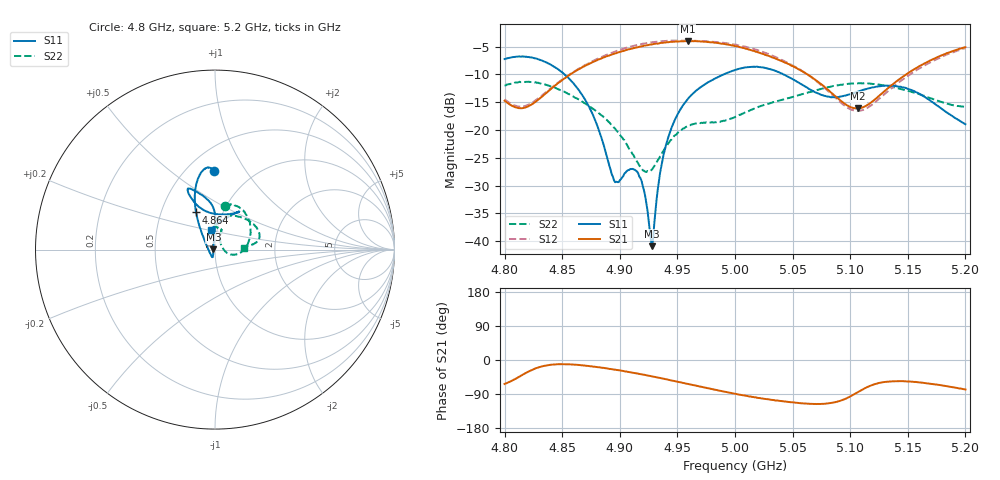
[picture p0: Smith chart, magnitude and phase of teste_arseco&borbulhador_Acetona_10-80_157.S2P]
! Network Analyzer HP8722D
! Hewlett-Packard
! Data name: Linha & Wilkinson
! Saver's name: Rodrigo Anjos
! Comments: Teste da utilização de aquisição
! continua pelo VNA HP8722D
! Time and date: 25/4/2025 16:34
!  Frequency  S11  S21  S12  S22
# HZ  S  MA R 50
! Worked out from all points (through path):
!   401 points, 4.8 GHz to 5.2 GHz, reference 50 ohm
!   highest |S21| = -3.98 dB at 4.959 GHz (marker M1); lowest = -16.1 dB at 5.107 GHz (marker M2)
!   lowest |S11| = -40.9 dB at 4.928 GHz (marker M3), VSWR 1.02, Z = 49.1 + j0.0998 ohm
!   |S11| at or under -10 dB: 4.852 GHz to 4.99 GHz (137.9 MHz wide, 2.8 % of centre); 5.042 GHz to end of sweep
!   |S22| runs from -27.5 to -11.3 dB; largest |S21 - S12| = 1.2
!   S11 on the Smith chart (normalised r, x): 4.8 GHz: 0.68, +0.73; 4.864 GHz: 0.75, +0.33; 5.2 GHz: 0.93, +0.21
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4.8e9  0.4354 90.7  0.1835 -63.3  0.1889 70.3  0.2508 76.6
4.82e9  0.4536 97.0  0.1624 -31.6  0.168 99.2  0.2712 61.3
4.845e9  0.3602 107.5  0.2568 -11.3  0.2607 119.4  0.2363 33.8
4.864e9  0.2323 117.0  0.3515 -13.0  0.3544 120.9  0.1888 11.7
4.867e9  0.2091 118.8  0.3647 -14.0  0.3694 120.5  0.1814 8.3
4.88e9  0.1127 129.3  0.4236 -18.5  0.4352 118.1  0.1473 -5.6
4.895e9  0.03515 -175.0  0.4861 -25.2  0.5031 113.5  0.1049 -15.9
4.91e9  0.04461 -109.7  0.5381 -32.8  0.5654 106.9  0.06369 -13.1
4.917e9  0.03808 -106.9  0.5621 -36.9  0.5898 103.3  0.04778 0.0
4.921e9  0.02858 -112.4  0.5748 -38.9  0.6002 101.1  0.04305 13.5
4.926e9  0.01251 -140.4  0.5867 -42.0  0.6131 97.9  0.04242 35.1
4.928e9  0.009027 173.5  0.5901 -43.2  0.6172 96.7  0.04429 42.1
4.934e9  0.03498 101.9  0.6014 -47.0  0.6285 93.0  0.05556 58.5
4.944e9  0.09881 91.4  0.6212 -53.4  0.6352 86.6  0.08078 69.3
4.959e9  0.1906 89.8  0.6321 -63.1  0.6381 77.1  0.1084 70.9
5e9  0.3472 109.1  0.5689 -89.3  0.5894 50.5  0.1312 88.1
5.03e9  0.3547 115.1  0.4621 -104.5  0.4791 33.6  0.1734 85.1
5.067e9  0.2268 105.4  0.2971 -115.9  0.295 23.7  0.2225 56.6
5.107e9  0.2222 64.3  0.1563 -84.2  0.1484 58.9  0.2633 23.9
5.134e9  0.2507 57.5  0.2438 -56.6  0.2289 88.9  0.2471 12.2
5.168e9  0.1886 69.7  0.415 -62.1  0.3987 84.9  0.1959 7.0
5.2e9  0.1128 101.2  0.5565 -77.8  0.5445 69.8  0.1619 3.7
